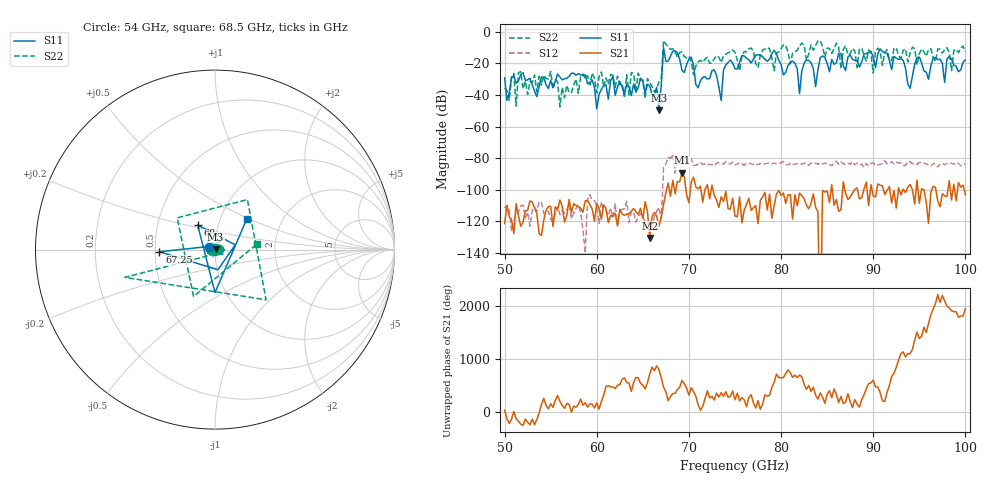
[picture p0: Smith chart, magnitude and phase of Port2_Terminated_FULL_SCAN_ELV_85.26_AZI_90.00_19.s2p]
! 11/25/2026 1:47:21 PM
! C:\ANRITSUVNA\TEMP\TEMP.S2P
! CHANNEL.1
! TR.MEASUREMENT
! RAW.DATA
# HZ S RI R 50.0
! FREQ.HZ  S11RE  S11IM  S21RE  S21IM  S12RE  S12IM  S22RE  S22IM
!; PortSelection: Port_12
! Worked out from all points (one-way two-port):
!   201 points, 50 GHz to 100 GHz, reference 50 ohm
!   highest |S21| = -89.21 dB at 69.25 GHz (marker M1); lowest = -130.5 dB at 65.75 GHz (marker M2)
!   lowest |S11| = -49.7 dB at 66.75 GHz (marker M3), VSWR 1.01, Z = 50.3 + j0.0706 ohm
!   |S11| at or under -10 dB: start of sweep to end of sweep
!   |S22| runs from -47.6 to -5.6 dB; largest |S21 - S12| = 0.00012
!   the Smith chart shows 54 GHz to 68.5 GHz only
!   S11 on the Smith chart (normalised r, x): 54 GHz: 0.93, +0.03; 67.25 GHz: 0.53, -0.01; 68 GHz: 0.80, +0.22; 68.5 GHz: 1.33, +0.49
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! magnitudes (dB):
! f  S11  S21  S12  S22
! 50 GHz  -29.1  -121.3  -111.5  -35.6
! 54 GHz  -28.7  -128.9  -107.9  -33.8
! 56 GHz  -28.6  -106.4  -115.7  -47.6
! 58.5 GHz  -27.7  -114.0  -125.4  -26.9
! 60 GHz  -48.8  -108.6  -110.2  -38.8
! 61.75 GHz  -28.4  -116.9  -117.3  -27.6
! 65.75 GHz  -34.3  -130.5  -123.0  -32.0
! 66.75 GHz  -49.7  -123.0  -111.0  -31.9
! 67.25 GHz  -10.2  -109.1  -86.0  -5.6
! 68 GHz  -15.5  -104.1  -80.2  -11.2
! 68.5 GHz  -12.1  -102.5  -89.5  -12.6
! 69.25 GHz  -24.4  -89.2  -83.5  -12.8
! 72.75 GHz  -24.1  -103.6  -84.8  -17.1
! 73.5 GHz  -43.6  -104.4  -83.4  -19.5
! 73.75 GHz  -24.3  -107.4  -83.8  -15.3
! 75 GHz  -23.5  -116.5  -84.3  -13.0
! 82 GHz  -39.2  -102.0  -84.0  -9.2
! 83.5 GHz  -23.5  -102.5  -83.5  -11.7
! 91.75 GHz  -18.2  -97.9  -83.6  -17.5
! 94 GHz  -35.8  -96.6  -82.2  -13.6
! 94.75 GHz  -16.5  -93.9  -83.8  -21.1
! 100 GHz  -17.9  -103.0  -83.4  -12.8
